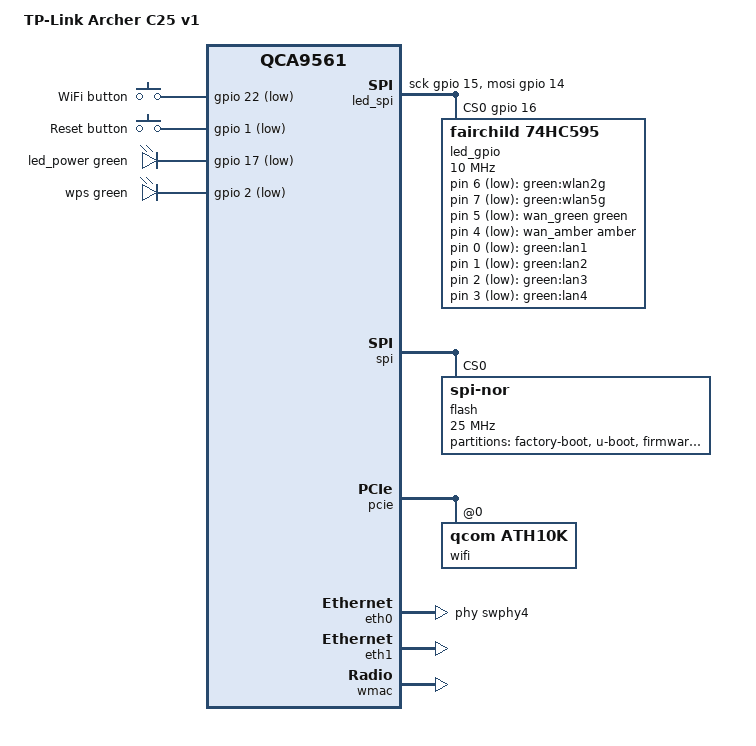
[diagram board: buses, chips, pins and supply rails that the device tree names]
// SPDX-License-Identifier: GPL-2.0-or-later OR MIT

#include "qca956x.dtsi"

#include <dt-bindings/gpio/gpio.h>
#include <dt-bindings/input/input.h>
#include <dt-bindings/leds/common.h>

/ {
	compatible = "tplink,archer-c25-v1", "qca,qca9561";
	model = "TP-Link Archer C25 v1";

	aliases {
		led-boot = &led_power;
		led-failsafe = &led_power;
		led-running = &led_power;
		led-upgrade = &led_power;
		label-mac-device = &eth0;
	};

	led_spi {
		compatible = "spi-gpio";
		#address-cells = <1>;
		#size-cells = <0>;

		sck-gpios = <&gpio 15 GPIO_ACTIVE_HIGH>;
		mosi-gpios = <&gpio 14 GPIO_ACTIVE_HIGH>;
		cs-gpios = <&gpio 16 GPIO_ACTIVE_HIGH>;
		num-chipselects = <1>;

		led_gpio: led_gpio@0 {
			compatible = "fairchild,74hc595";
			reg = <0>;
			gpio-controller;
			#gpio-cells = <2>;
			registers-number = <1>;
			spi-max-frequency = <10000000>;
		};
	};

	keys {
		compatible = "gpio-keys";

		wifi {
			label = "WiFi button";
			linux,code = <KEY_RFKILL>;
			gpios = <&gpio 22 GPIO_ACTIVE_LOW>;
		};

		reset {
			label = "Reset button";
			linux,code = <KEY_RESTART>;
			gpios = <&gpio 1 GPIO_ACTIVE_LOW>;
		};
	};

	leds {
		compatible = "gpio-leds";

		led_power: power {
			function = LED_FUNCTION_POWER;
			color = <LED_COLOR_ID_GREEN>;
			gpios = <&gpio 17 GPIO_ACTIVE_LOW>;
			default-state = "on";
		};

		wps {
			function = LED_FUNCTION_WPS;
			color = <LED_COLOR_ID_GREEN>;
			gpios = <&gpio 2 GPIO_ACTIVE_LOW>;
		};

		wlan2g {
			label = "green:wlan2g";
			gpios = <&led_gpio 6 GPIO_ACTIVE_LOW>;
			linux,default-trigger = "phy1tpt";
		};

		wlan5g {
			label = "green:wlan5g";
			gpios = <&led_gpio 7 GPIO_ACTIVE_LOW>;
			linux,default-trigger = "phy0tpt";
		};

		wan_green {
			function = LED_FUNCTION_WAN;
			color = <LED_COLOR_ID_GREEN>;
			gpios = <&led_gpio 5 GPIO_ACTIVE_LOW>;
		};

		wan_amber {
			function = LED_FUNCTION_WAN;
			color = <LED_COLOR_ID_AMBER>;
			gpios = <&led_gpio 4 GPIO_ACTIVE_LOW>;
		};

		lan1 {
			label = "green:lan1";
			gpios = <&led_gpio 0 GPIO_ACTIVE_LOW>;
		};

		lan2 {
			label = "green:lan2";
			gpios = <&led_gpio 1 GPIO_ACTIVE_LOW>;
		};

		lan3 {
			label = "green:lan3";
			gpios = <&led_gpio 2 GPIO_ACTIVE_LOW>;
		};

		lan4 {
			label = "green:lan4";
			gpios = <&led_gpio 3 GPIO_ACTIVE_LOW>;
		};
	};
};

&spi {
	status = "okay";

	flash@0 {
		compatible = "jedec,spi-nor";
		reg = <0>;
		spi-max-frequency = <25000000>;

		partitions {
			compatible = "fixed-partitions";
			#address-cells = <1>;
			#size-cells = <1>;

			partition@0 {
				label = "factory-boot";
				reg = <0x000000 0x020000>;
				read-only;
			};

			partition@20000 {
				label = "u-boot";
				reg = <0x020000 0x010000>;
				read-only;
			};

			partition@30000 {
				compatible = "denx,uimage";
				label = "firmware";
				reg = <0x030000 0x7a0000>;
			};

			partition@7d0000 {
				label = "config";
				reg = <0x7d0000 0x010000>;
				read-only;
			};

			partition@7e0000 {
				label = "info";
				reg = <0x7e0000 0x010000>;
				read-only;

				nvmem-layout {
					compatible = "fixed-layout";
					#address-cells = <1>;
					#size-cells = <1>;

					macaddr_info_8: macaddr@8 {
						compatible = "mac-base";
						reg = <0x8 0x6>;
						#nvmem-cell-cells = <1>;
					};
				};
			};

			partition@7f0000 {
				label = "art";
				reg = <0x7f0000 0x010000>;
				read-only;

				nvmem-layout {
					compatible = "fixed-layout";
					#address-cells = <1>;
					#size-cells = <1>;

					cal_art_1000: calibration@1000 {
						reg = <0x1000 0x440>;
					};

					cal_art_5000: calibration@5000 {
						reg = <0x5000 0x844>;
					};
				};
			};
		};
	};
};

&pcie {
	status = "okay";

	wifi@0,0 {
		compatible = "qcom,ath10k";
		reg = <0x0000 0 0 0 0>;
		nvmem-cells = <&cal_art_5000>, <&macaddr_info_8 (-1)>;
		nvmem-cell-names = "calibration", "mac-address";
	};
};

&eth0 {
	status = "okay";

	phy-handle = <&swphy4>;

	nvmem-cells = <&macaddr_info_8 0>;
	nvmem-cell-names = "mac-address";
};

&eth1 {
	status = "okay";

	nvmem-cells = <&macaddr_info_8 1>;
	nvmem-cell-names = "mac-address";
};

&wmac {
	status = "okay";

	nvmem-cells = <&macaddr_info_8 0>, <&cal_art_1000>;
	nvmem-cell-names = "mac-address", "calibration";
};
